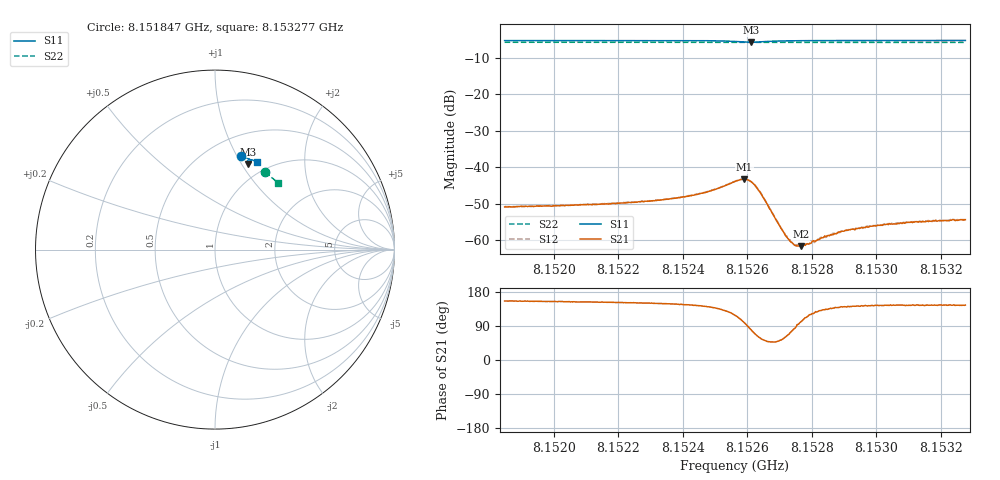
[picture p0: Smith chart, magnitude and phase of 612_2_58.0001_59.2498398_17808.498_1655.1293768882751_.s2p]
#  HZ  S  RI  R  50.00
! Rohde & Schwarz Vector Network Analyzer
! Rohde-Schwarz,ZNB20-2Port,1311601062101988,3.16
! Created: UTC 3/21/2024, 1:17:46 AM
! freq[Hz]  re:S11  im:S11  re:S21  im:S21  re:S12  im:S12  re:S22  im:S22
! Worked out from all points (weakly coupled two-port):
!   401 points, 8.151847 GHz to 8.153277 GHz, reference 50 ohm
!   highest |S21| = -43.30 dB at 8.152591 GHz (marker M1); lowest = -61.6 dB at 8.152766 GHz (marker M2)
!   lowest |S11| = -5.8 dB at 8.152612 GHz (marker M3), VSWR 3.10, Z = 41.3 + j53.5 ohm
!   |S11| at or under -10 dB: nowhere
!   |S22| runs from -5.9 to -5.8 dB; largest |S21 - S12| = 0.00015
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8.1518471e9  0.147 0.5199  -0.00261 0.00118  -0.0026 0.00125  0.2787 0.4296
8.1520866e9  0.1642 0.515  -0.00275 0.00137  -0.00274 0.00143  0.2913 0.4208
8.1523261e9  0.182 0.5088  -0.00304 0.00181  -0.00306 0.00185  0.3035 0.4117
8.1524548e9  0.1934 0.5026  -0.0035 0.00263  -0.00345 0.00269  0.31 0.4063
8.1525049e9  0.1983 0.4977  -0.00366 0.0035  -0.00368 0.00357  0.3125 0.4042
8.152562e9  0.2012 0.4855  -0.00303 0.00564  -0.00295 0.0057  0.3152 0.4016
8.1525906e9  0.1945 0.4774  -0.001 0.00676  -0.000964 0.00686  0.3162 0.4004
8.1526121e9  0.1849 0.4775  0.00114 0.00624  0.00122 0.00625  0.3169 0.3996
8.1526264e9  0.1801 0.4818  0.00212 0.00503  0.00223 0.00507  0.3174 0.3993
8.1526443e9  0.1785 0.4887  0.00242 0.00347  0.00246 0.00353  0.3184 0.3988
8.152705e9  0.1874 0.5  0.000883 0.00116  0.000913 0.00114  0.3217 0.3969
8.1527229e9  0.1901 0.5009  0.000488 0.000993  0.000517 0.00102  0.3226 0.3962
8.1527444e9  0.1932 0.5012  0.000123 0.000869  0.000143 0.000865  0.3237 0.3952
8.1527551e9  0.1947 0.5012  -5.29e-05 0.000833  1.01e-06 0.000877  0.3243 0.3947
8.1527658e9  0.1959 0.5011  -0.000148 0.000819  -0.00014 0.000868  0.3249 0.3943
8.1528015e9  0.1999 0.5008  -0.000522 0.000809  -0.000474 0.000866  0.3265 0.3928
8.1528623e9  0.2056 0.4995  -0.000852 0.000828  -0.000862 0.000849  0.3297 0.3902
8.1528981e9  0.2087 0.4987  -0.00102 0.000853  -0.001 0.000905  0.3314 0.3887
8.1529803e9  0.2152 0.4965  -0.00124 0.000936  -0.00123 0.000977  0.3353 0.3853
8.153041e9  0.2196 0.4949  -0.00137 0.001  -0.00135 0.000993  0.3381 0.3827
8.1531554e9  0.2276 0.4917  -0.00149 0.00105  -0.00146 0.00106  0.3434 0.3777
8.153277e9  0.2359 0.4882  -0.00157 0.0011  -0.00152 0.00111  0.349 0.3723
